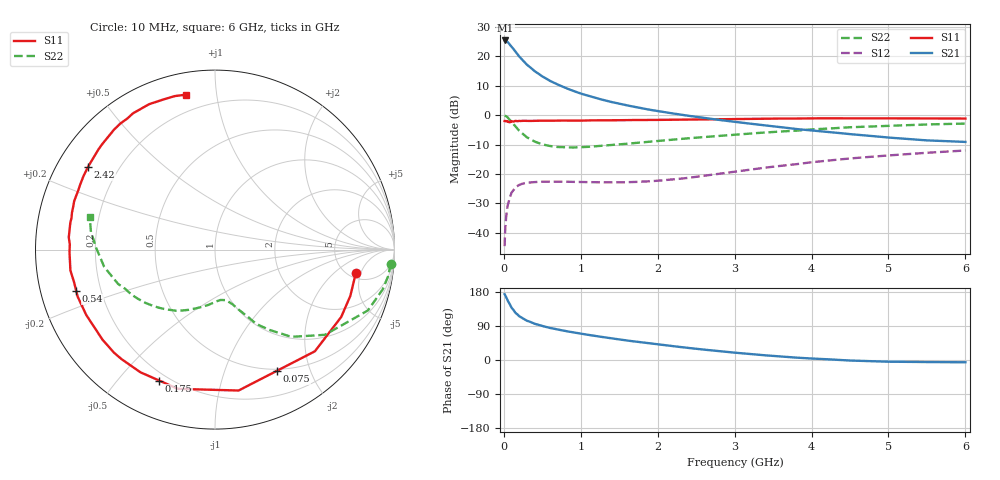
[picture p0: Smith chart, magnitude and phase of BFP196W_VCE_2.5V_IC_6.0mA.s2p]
! Infineon Technologies  Discrete & RF Semiconductors
! BFP196W
! VCE = 2.5 V,  IC = 6.0mA
! Common Emitter S-Parameters:  Jan 2016
# GHz  S  MA  R  50
!  f  S11  S21  S12  S22
! GHz  MAG  ANG  MAG  ANG  MAG  ANG  MAG  ANG
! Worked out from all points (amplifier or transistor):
!   210 points, 10 MHz to 6 GHz, reference 50 ohm
!   highest |S21| = 25.5 dB at 20 MHz (marker M1)
!   |S21| within 3 dB of that: start of sweep to 127.7 MHz
!   unconditionally stable (mu >= 1): 1.354 GHz to 3.313 GHz
!   at 185 MHz: K = 0.16, MSG = 22.3 dB, |S12| = -24.0 dB
!   at 1.52 GHz: K = 1.10, MAG = 11.4 dB, |S12| = -22.9 dB
!   at 6 GHz: K = 0.98, MSG = 1.5 dB, |S12| = -12.0 dB
!   S11 on the Smith chart (normalised r, x): 10 MHz: 5.85, -4.10; 75 MHz: 0.48, -1.52; 175 MHz: 0.16, -0.65; 540 MHz: 0.11, -0.14; 2.42 GHz: 0.09, +0.29; 6 GHz: 0.11, +0.83
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0.01  0.7956 -9.3  18.53 173.6  0.0059 83.6  0.983 -4.6
0.02  0.7969 -18.9  18.75 170.3  0.0126 81.5  0.9751 -9.0
0.03  0.7971 -28.1  18.46 165.7  0.0184 77.1  0.9601 -13.4
0.05  0.7942 -45.5  17.71 156.4  0.0292 67.4  0.9169 -21.7
0.075  0.7583 -63.0  16.05 148.0  0.0382 57.4  0.8377 -29.1
0.1  0.7961 -80.5  14.79 138.0  0.048 51.4  0.775 -37.8
0.15  0.8027 -104.9  12.21 124.7  0.0594 40.3  0.6456 -48.8
0.175  0.7931 -113.1  11.07 120.6  0.0621 36.4  0.5937 -51.9
0.2  0.7999 -121.3  10.01 115.5  0.0651 32.8  0.5438 -55.6
0.24  0.8022 -130.5  8.771 110.4  0.0681 28.8  0.4899 -59.6
0.3  0.8029 -141.3  7.246 103.6  0.0708 24.5  0.4206 -63.7
0.4  0.8046 -153.1  5.63 95.6  0.0728 20.0  0.356 -68.8
0.54  0.8066 -163.5  4.285 87.8  0.074 17.1  0.3113 -73.5
0.8  0.8111 -175.8  2.915 76.4  0.0738 15.7  0.2845 -80.9
1.02  0.811 177.4  2.296 68.9  0.0729 16.9  0.2862 -87.2
1.4  0.8187 167.5  1.679 57.0  0.072 21.3  0.312 -97.4
2.02  0.8335 154.6  1.167 40.8  0.0772 33.9  0.3662 -113.6
2.42  0.8444 147.0  0.971 31.3  0.0866 41.1  0.4075 -123.6
3.1  0.8625 135.1  0.744 17.7  0.114 47.3  0.4773 -140.3
4.1  0.8858 119.8  0.537 3.0  0.1633 45.8  0.5815 -162.8
5.1  0.884 108.1  0.408 -4.7  0.2113 38.4  0.6676 177.8
6  0.8783 100.5  0.351 -5.9  0.2512 31.2  0.7204 165.6
